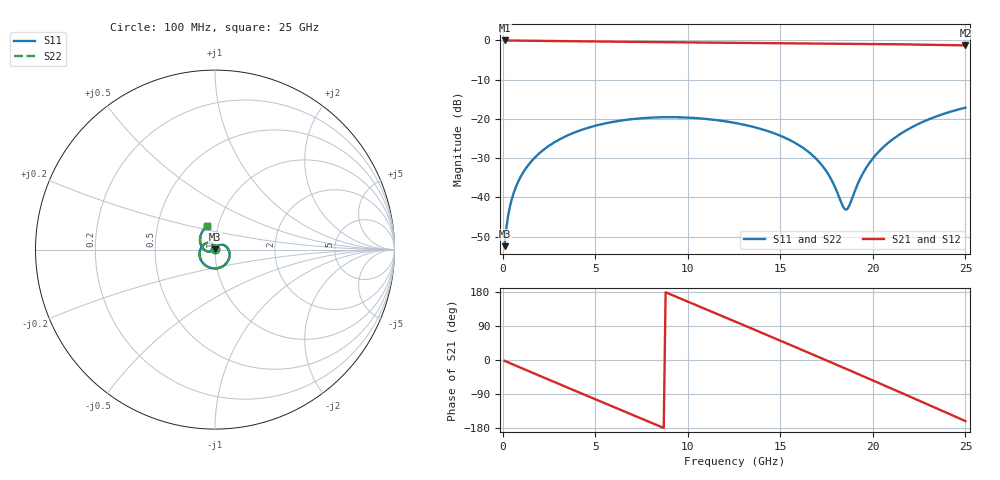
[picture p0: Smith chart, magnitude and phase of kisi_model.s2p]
! kisi C_s8_ap1200: fast channel model (formula impedances, via model), up to 25 GHz
# Hz S RI R 50
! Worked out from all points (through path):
!   250 points, 100 MHz to 25 GHz, reference 50 ohm
!   highest |S21| = -0.02 dB at 100 MHz (marker M1); lowest = -1.3 dB at 25 GHz (marker M2)
!   group delay of S21, straight-line fit = 57.6 ps
!   lowest |S11| = -52.4 dB at 100 MHz (marker M3), VSWR 1.00, Z = 50.1 + j0.199 ohm
!   |S11| at or under -10 dB: start of sweep to end of sweep
!   |S22| runs from -52.4 to -17.1 dB; largest |S21 - S12| = 0
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1e8  0.00134 0.00199  0.9974 -0.0378  0.9974 -0.0378  0.00134 0.00199
3e8  0.00204 0.00568  0.9904 -0.1114  0.9904 -0.1114  0.00204 0.00568
5e8  0.00317 0.00919  0.9783 -0.1835  0.9783 -0.1835  0.00317 0.00919
1.2e9  0.0106 0.0199  0.8964 -0.4225  0.8964 -0.4225  0.0106 0.0199
2.8e9  0.0426 0.0272  0.5149 -0.8355  0.5149 -0.8355  0.0426 0.0272
4.3e9  0.073 0.00378  0.0131 -0.9724  0.0131 -0.9724  0.073 0.00378
6.1e9  0.0777 -0.051  -0.5674 -0.777  -0.5674 -0.777  0.0777 -0.051
7.3e9  0.0539 -0.0854  -0.8332 -0.4676  -0.8332 -0.4676  0.0539 -0.0854
8.4e9  0.0177 -0.1032  -0.9431 -0.1124  -0.9431 -0.1124  0.0177 -0.1032
1.03e10  -0.0506 -0.0896  -0.7971 0.5001  -0.7971 0.5001  -0.0506 -0.0896
1.15e10  -0.0787 -0.0566  -0.5135 0.7826  -0.5135 0.7826  -0.0787 -0.0566
1.26e10  -0.0861 -0.02  -0.1721 0.9158  -0.1721 0.9158  -0.0861 -0.02
1.45e10  -0.0612 0.029  0.4429 0.8118  0.4429 0.8118  -0.0612 0.029
1.57e10  -0.0337 0.0382  0.7402 0.5468  0.7402 0.5468  -0.0337 0.0382
1.67e10  -0.0143 0.032  0.8825 0.2463  0.8825 0.2463  -0.0143 0.032
1.75e10  -0.00554 0.0206  0.9126 -0.0184  0.9126 -0.0184  -0.00554 0.0206
1.84e10  -0.0053 0.00536  0.8534 -0.3119  0.8534 -0.3119  -0.0053 0.00536
1.86e10  -0.00671 0.00216  0.8273 -0.3734  0.8273 -0.3734  -0.00671 0.00216
1.96e10  -0.0209 -0.00969  0.6335 -0.6428  0.6335 -0.6428  -0.0209 -0.00969
2.09e10  -0.0507 -0.00687  0.2612 -0.8558  0.2612 -0.8558  -0.0507 -0.00687
2.28e10  -0.0829 0.0441  -0.3542 -0.8074  -0.3542 -0.8074  -0.0829 0.0441
2.5e10  -0.0422 0.1323  -0.8177 -0.2778  -0.8177 -0.2778  -0.0422 0.1323
